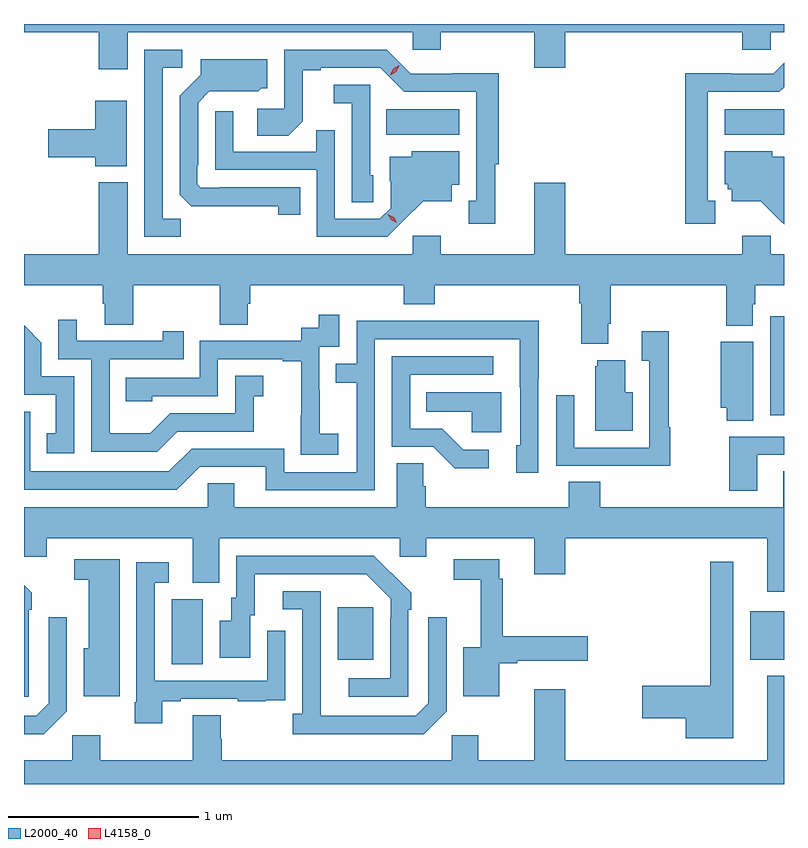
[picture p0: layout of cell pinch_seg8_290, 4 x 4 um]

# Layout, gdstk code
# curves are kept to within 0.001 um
import gdstk
lib = gdstk.Library(unit=1e-6, precision=1e-09)
def R(c, l, rs):  # rectangles x0, y0, x1, y1
    for r in rs: c.add(gdstk.rectangle(r[:2], r[2:], *l))
def P(c, l, *ps):  # polygons
    for p in ps: c.add(gdstk.Polygon(p, *l))
L2000_40 = (2000, 40)
L4158_0 = (4158, 0)

pinch_seg8_290 = lib.new_cell('pinch_seg8_290')
R(pinch_seg8_290, L2000_40, [(522.74,1151.8,522.904,1152.144), (523.613,1151.825,523.801,1152.1), (525.785,1151.825,525.963,1152.079), (525.89,1153.112,525.963,1153.633), (523.87,1154.588,524.254,1154.722), (525.65,1154.588,525.963,1154.722)])
P(pinch_seg8_290, L2000_40, [(522.508,1155.128),(524.01,1155.128),(524.01,1155.035),(524.157,1155.035),(524.157,1155.128),(524.648,1155.128),(524.648,1154.94),(524.812,1154.94),(524.812,1155.128),(525.743,1155.128),(525.743,1155.035),(525.894,1155.035),(525.894,1155.128),(525.963,1155.128),(525.963,1155.171),(521.963,1155.171),(521.963,1155.128),(522.356,1155.128),(522.356,1154.934),(522.508,1154.934)],
  [(522.789,1154.147),(522.693,1154.147),(522.693,1154.94),(522.796,1154.94),(522.796,1155.036),(522.597,1155.036),(522.597,1154.052),(522.789,1154.052)],
  [(524.443,1154.433),(524.461,1154.433),(524.461,1154.912),(524.22,1154.912),(524.22,1154.91),(523.998,1154.91),(523.872,1155.036),(523.332,1155.036),(523.332,1154.724),(523.191,1154.724),(523.191,1154.584),(523.355,1154.584),(523.431,1154.66),(523.431,1154.928),(523.525,1154.928),(523.525,1154.94),(523.839,1154.94),(523.965,1154.814),(524.342,1154.814),(524.342,1154.241),(524.303,1154.241),(524.303,1154.121),(524.443,1154.121)],
  [(523.418,1154.313),(522.994,1154.313),(522.994,1154.31),(522.894,1154.31),(522.876,1154.328),(522.876,1154.428),(522.879,1154.428),(522.879,1154.757),(522.939,1154.817),(523.196,1154.816),(523.212,1154.832),(523.243,1154.832),(523.243,1154.986),(522.893,1154.986),(522.893,1154.904),(522.783,1154.794),(522.783,1154.272),(522.842,1154.213),(523.3,1154.212),(523.3,1154.166),(523.418,1154.166)],
  [(525.601,1154.241),(525.562,1154.241),(525.562,1154.814),(525.939,1154.814),(525.963,1154.838),(525.963,1154.967),(525.906,1154.91),(525.684,1154.91),(525.684,1154.912),(525.444,1154.912),(525.444,1154.121),(525.601,1154.121)],
  [(523.8,1154.376),(523.785,1154.376),(523.785,1154.85),(523.593,1154.85),(523.593,1154.753),(523.689,1154.753),(523.689,1154.233),(523.8,1154.233)],
  [(522.505,1154.767),(522.338,1154.767),(522.338,1154.618),(522.09,1154.618),(522.09,1154.471),(522.338,1154.471),(522.338,1154.423),(522.505,1154.423)],
  [(523.96,1154.135),(524.063,1154.237),(524.215,1154.237),(524.215,1154.324),(524.254,1154.324),(524.254,1154.5),(524.004,1154.5),(524.004,1154.473),(523.889,1154.473),(523.889,1154.344),(523.893,1154.344),(523.893,1154.202),(523.836,1154.145),(523.599,1154.145),(523.599,1154.612),(523.501,1154.612),(523.501,1154.499),(523.065,1154.499),(523.065,1154.713),(522.969,1154.713),(522.969,1154.403),(523.503,1154.403),(523.503,1154.052),(523.876,1154.052)],
  [(525.963,1154.473),(525.9,1154.473),(525.9,1154.5),(525.65,1154.5),(525.65,1154.328),(525.666,1154.328),(525.666,1154.301),(525.689,1154.301),(525.689,1154.237),(525.841,1154.237),(525.944,1154.135),(525.963,1154.116)],
  [(522.508,1154.338),(522.356,1154.338),(522.356,1153.96),(521.963,1153.96),(521.963,1153.796),(522.377,1153.796),(522.377,1153.698),(522.389,1153.698),(522.389,1153.588),(522.537,1153.588),(522.537,1153.796),(522.994,1153.796),(522.994,1153.588),(523.141,1153.588),(523.141,1153.698),(523.154,1153.698),(523.154,1153.796),(523.961,1153.796),(523.961,1153.697),(524.126,1153.697),(524.126,1153.796),(524.885,1153.796),(524.885,1153.7),(524.897,1153.7),(524.897,1153.487),(525.037,1153.487),(525.037,1153.594),(525.05,1153.594),(525.05,1153.796),(525.659,1153.796),(525.659,1153.583),(525.799,1153.583),(525.799,1153.695),(525.812,1153.695),(525.812,1153.796),(525.963,1153.796),(525.963,1153.96),(525.894,1153.96),(525.894,1154.056),(525.743,1154.056),(525.743,1153.96),(524.812,1153.96),(524.812,1154.335),(524.648,1154.335),(524.648,1153.96),(524.157,1153.96),(524.157,1154.056),(524.01,1154.056),(524.01,1153.96),(522.508,1153.96)],
  [(523.618,1153.015),(523.52,1153.015),(523.52,1153.244),(523.518,1153.244),(523.518,1153.473),(523.623,1153.473),(523.623,1153.642),(523.515,1153.642),(523.515,1153.572),(523.422,1153.572),(523.422,1153.503),(522.888,1153.503),(522.888,1153.308),(522.499,1153.308),(522.499,1153.185),(522.639,1153.185),(522.639,1153.212),(522.984,1153.212),(522.984,1153.407),(523.325,1153.407),(523.325,1153.395),(523.421,1153.395),(523.421,1153.111),(523.42,1153.111),(523.42,1152.905),(523.618,1152.905)],
  [(522.769,1153.026),(523.173,1153.026),(523.173,1153.211),(523.222,1153.211),(523.222,1153.321),(523.074,1153.321),(523.074,1153.122),(522.732,1153.122),(522.628,1153.018),(522.414,1153.018),(522.414,1153.407),(522.803,1153.407),(522.803,1153.555),(522.692,1153.555),(522.692,1153.503),(522.241,1153.503),(522.241,1153.615),(522.144,1153.615),(522.144,1153.407),(522.318,1153.407),(522.318,1152.921),(522.664,1152.921)],
  [(523.809,1153.512),(524.573,1153.512),(524.574,1152.954),(524.555,1152.954),(524.555,1152.81),(524.67,1152.81),(524.67,1153.303),(524.673,1153.303),(524.673,1153.61),(524.209,1153.61),(524.209,1153.608),(523.713,1153.608),(523.713,1153.383),(523.603,1153.383),(523.603,1153.282),(523.713,1153.282),(523.713,1152.813),(523.332,1152.813),(523.332,1152.936),(522.846,1152.936),(522.726,1152.816),(521.997,1152.816),(521.997,1153.131),(521.963,1153.131),(521.963,1152.72),(522.768,1152.72),(522.888,1152.84),(523.235,1152.84),(523.235,1152.717),(523.809,1152.717)],
  [(522.228,1153.317),(522.054,1153.317),(522.054,1153.494),(521.963,1153.585),(521.963,1153.221),(522.131,1153.221),(522.131,1153.017),(522.082,1153.017),(522.082,1152.912),(522.228,1152.912)],
  [(525.364,1153.049),(525.356,1153.049),(525.356,1153.555),(525.215,1153.555),(525.215,1153.399),(525.255,1153.399),(525.255,1152.942),(524.859,1152.942),(524.859,1153.216),(524.763,1153.216),(524.763,1152.846),(525.079,1152.846),(525.079,1152.845),(525.364,1152.845)],
  [(525.802,1153.498),(525.629,1153.498),(525.629,1153.151),(525.661,1153.151),(525.661,1153.084),(525.802,1153.084)],
  [(524.41,1152.93),(524.275,1152.93),(524.164,1153.041),(523.995,1153.041),(523.995,1153.326),(524.434,1153.326),(524.434,1153.422),(523.899,1153.422),(523.899,1152.945),(524.118,1152.945),(524.231,1152.833),(524.41,1152.833)],
  [(525.166,1153.234),(525.127,1153.234),(525.127,1153.402),(524.981,1153.402),(524.981,1153.371),(524.969,1153.371),(524.969,1153.031),(525.166,1153.031)],
  [(524.476,1153.234),(524.08,1153.234),(524.08,1153.13),(524.319,1153.13),(524.319,1153.022),(524.476,1153.022)],
  [(525.823,1152.903),(525.963,1152.903),(525.963,1152.999),(525.676,1152.999),(525.676,1152.714),(525.823,1152.714)],
  [(525.963,1152.818),(525.959,1152.818),(525.959,1152.628),(524.996,1152.628),(524.996,1152.761),(524.831,1152.761),(524.831,1152.628),(524.078,1152.628),(524.078,1152.737),(524.064,1152.737),(524.064,1152.86),(523.925,1152.86),(523.925,1152.628),(523.069,1152.628),(523.069,1152.755),(522.93,1152.755),(522.93,1152.628),(521.963,1152.628),(521.963,1152.366),(522.082,1152.366),(522.082,1152.464),(522.851,1152.464),(522.851,1152.229),(522.991,1152.229),(522.991,1152.464),(523.941,1152.464),(523.941,1152.366),(524.08,1152.366),(524.08,1152.464),(524.648,1152.464),(524.648,1152.276),(524.812,1152.276),(524.812,1152.464),(525.875,1152.464),(525.875,1152.183),(525.963,1152.183)],
  [(523.986,1152.089),(524.001,1152.089),(524.001,1152.177),(523.804,1152.372),(523.08,1152.372),(523.08,1152.15),(523.055,1152.15),(523.055,1152.031),(522.992,1152.031),(522.992,1151.835),(523.153,1151.835),(523.153,1152.06),(523.177,1152.06),(523.177,1152.276),(523.765,1152.276),(523.893,1152.147),(523.893,1152.047),(523.89,1152.047),(523.89,1151.727),(523.671,1151.727),(523.671,1151.631),(523.986,1151.631)],
  [(522.466,1152.354),(522.228,1152.354),(522.228,1152.246),(522.305,1152.246),(522.305,1151.886),(522.278,1151.886),(522.278,1151.633),(522.466,1151.633)],
  [(524.464,1151.807),(524.56,1151.807),(524.56,1151.819),(524.929,1151.819),(524.929,1151.949),(524.483,1151.949),(524.483,1152.251),(524.465,1152.251),(524.465,1152.354),(524.226,1152.354),(524.226,1152.246),(524.366,1152.246),(524.366,1151.89),(524.276,1151.89),(524.276,1151.633),(524.464,1151.633)],
  [(525.697,1152.34),(525.576,1152.34),(525.576,1151.687),(525.216,1151.687),(525.216,1151.516),(525.446,1151.516),(525.446,1151.411),(525.697,1151.411)],
  [(522.691,1151.607),(522.787,1151.607),(522.787,1151.619),(523.087,1151.619),(523.087,1151.607),(523.235,1151.607),(523.235,1151.613),(523.337,1151.613),(523.337,1151.722),(523.338,1151.722),(523.338,1151.977),(523.242,1151.977),(523.242,1151.715),(522.651,1151.715),(522.651,1152.231),(522.724,1152.231),(522.724,1152.337),(522.555,1152.337),(522.555,1151.602),(522.547,1151.602),(522.547,1151.49),(522.691,1151.49)],
  [(521.988,1152.089),(522.003,1152.089),(522.003,1152.177),(521.963,1152.217),(521.963,1151.631),(521.988,1151.631)],
  [(524.187,1151.553),(524.187,1152.049),(524.091,1152.049),(524.091,1151.595),(524.025,1151.529),(523.525,1151.529),(523.524,1152.186),(523.326,1152.186),(523.326,1152.09),(523.428,1152.09),(523.428,1151.542),(523.377,1151.542),(523.377,1151.432),(524.066,1151.432)],
  [(522.189,1151.553),(522.189,1152.049),(522.093,1152.049),(522.093,1151.595),(522.027,1151.529),(521.963,1151.529),(521.963,1151.432),(522.068,1151.432)],
  [(525.963,1151.74),(525.875,1151.74),(525.875,1151.296),(524.812,1151.296),(524.812,1151.671),(524.648,1151.671),(524.648,1151.296),(524.353,1151.296),(524.353,1151.428),(524.214,1151.428),(524.214,1151.296),(523.004,1151.296),(523.004,1151.409),(522.999,1151.409),(522.999,1151.534),(522.851,1151.534),(522.851,1151.296),(522.363,1151.296),(522.363,1151.428),(522.216,1151.428),(522.216,1151.296),(521.963,1151.296),(521.963,1151.171),(525.963,1151.171)])
P(pinch_seg8_290, L4158_0, [(523.89,1154.902),(523.89,1154.902),(523.907,1154.935),(523.939,1154.954),(523.939,1154.954),(523.939,1154.954),(523.922,1154.921),(523.89,1154.902)],
  [(523.926,1154.125),(523.895,1154.14),(523.877,1154.169),(523.877,1154.17),(523.878,1154.17),(523.908,1154.155),(523.926,1154.125),(523.926,1154.125)])

lib.write_gds('pinch_seg8_290.gds')
